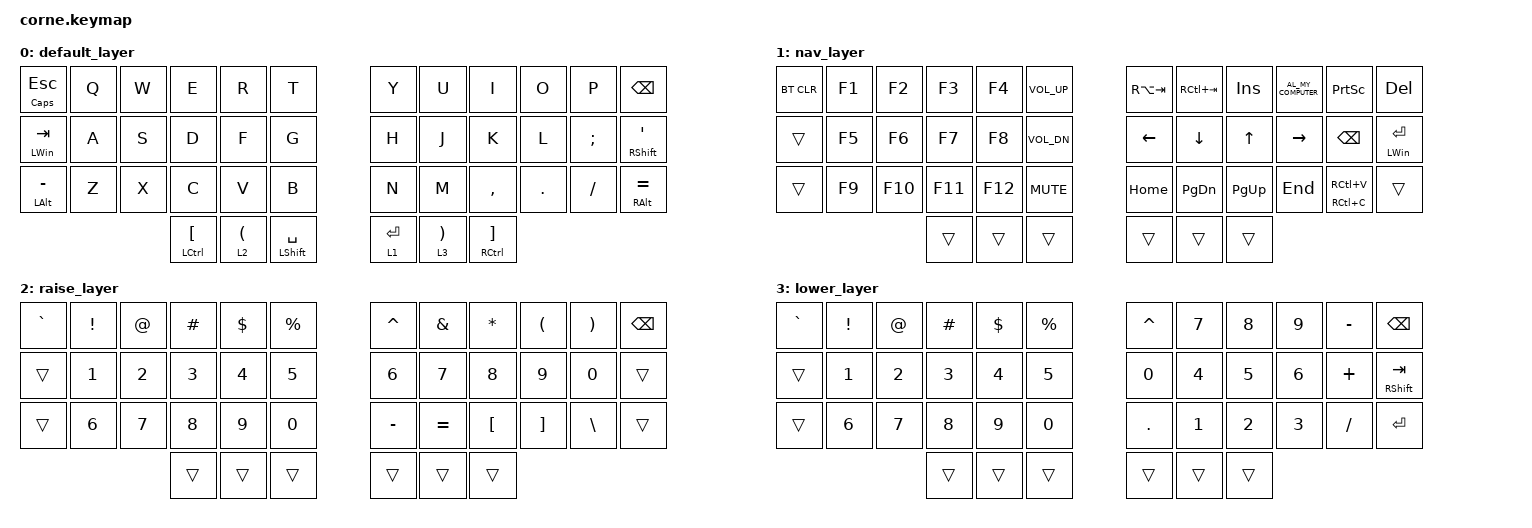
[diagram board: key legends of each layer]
/*
 * Copyright (c) 2020 The ZMK Contributors
 *
 * SPDX-License-Identifier: MIT
 */

#include <behaviors.dtsi>
#include <dt-bindings/zmk/bt.h>
#include <dt-bindings/zmk/keys.h>

/ {
    keymap {
        compatible = "zmk,keymap";

        default_layer {
            // -----------------------------------------------------------------------------------------
            //  | CAPS ESC |  Q  |  W  |  E  |  R  |  T  |      |  Y  |  U   |  I  |  O  |  P  | BKSP   |
            //  | CTRL TAB |  A  |  S  |  D  |  F  |  G  |      |  H  |  J   |  K  |  L  |  ;  | SHFT ' |
            //      |ALT - |  Z  |  X  |  C  |  V  |  B  |      |  N  |  M   |  ,  |  .  |  /  | ALT = |
            //                | GUI [ | L2 ( | SHFT ENT  |      | SPC L1 | L2 ) | CTRL ] |

            bindings = <
&mt CAPS ESC      &kp Q  &kp W  &kp E           &kp R       &kp T              &kp Y        &kp U       &kp I           &kp O    &kp P     &kp BSPC
&mt LEFT_WIN TAB  &kp A  &kp S  &kp D           &kp F       &kp G              &kp H        &kp J       &kp K           &kp L    &kp SEMI  &mt RSHFT SQT
&mt LALT MINUS    &kp Z  &kp X  &kp C           &kp V       &kp B              &kp N        &kp M       &kp COMMA       &kp DOT  &kp FSLH  &mt RALT EQUAL
                                &mt LCTRL LBKT  &lt 2 LPAR  &mt LSHFT SPACE    &lt 1 ENTER  &lt 3 RPAR  &mt RCTRL RBKT
            >;
        };

        // num row   &kp N1  &kp N2   &kp N3  &kp N4  &kp N5       &kp N6 &kp N7  &kp N8  &kp N9  &kp N0
        //LAYER 1 

        nav_layer {
            // -----------------------------------------------------------------------------------------
            //    | BTCLR | F1 | F2 | F3 | F4 | VOLUP |      | EP_ON | EP_OFF | INS | MYCOMP | PSCRN | DEL  |
            // | CTRL TAB | F5 | F6 | F7 | F8 | VOLDN |      | LFT  |  DWN  |  UP  | RIGHT | BCSP| SHFT ' |
            //    | ALT - | F9 |F10 |F11 |F12 | MUTE  |      | HOME | PGUP  | PGDN |  END  | BACK | ALT = |
            //             | GUI [ | L2 ( | SHIFT ENT |      | SPC | L2 ) | CTRL ] |

            bindings = <
&bt BT_CLR  &kp F1  &kp F2   &kp F3   &kp F4   &kp C_VOL_UP    &kp RA(TAB)  &kp RC(TAB)  &kp INS    &kp C_AL_MY_COMPUTER  &kp PSCRN        &kp DEL
&trans      &kp F5  &kp F6   &kp F7   &kp F8   &kp C_VOL_DN    &kp LEFT     &kp DOWN     &kp UP     &kp RIGHT             &kp BSPC         &mt LEFT_WIN RET
&trans      &kp F9  &kp F10  &kp F11  &kp F12  &kp C_MUTE      &kp HOME     &kp PG_DN    &kp PG_UP  &kp END               &mt RC(C) RC(V)  &trans
                             &trans   &trans   &trans          &trans       &trans       &trans
            >;
        };

        //LAYER 2

        raise_layer {
            // -----------------------------------------------------------------------------------------
            //        |  ` |  !  |  @  |  #  |  $  |  %  |     |  ^  |  &  |  *  |  (  |  )  | BKSP   |
            //  | CTRL TAB |  1  |  2  |  3  |  4  |  5  |     |  6  |  7  |  8  |  9  |  0  | SHFT ' |
            //     | ALT - |  6  |  7  |  8  |  9  |  0  |     |  -  |  =  |  [  |  ]  |  \  | ALT = |
            //                      | GUI [ | L2 ( | SPC |     | ENT | L2 ) | CTRL ] |

            bindings = <
&kp GRAVE  &kp EXCL  &kp AT  &kp HASH  &kp DLLR  &kp PRCNT    &kp CARET  &kp AMPS   &kp ASTERISK  &kp LPAR  &kp RPAR  &kp BSPC
&trans     &kp N1    &kp N2  &kp N3    &kp N4    &kp N5       &kp N6     &kp N7     &kp N8        &kp N9    &kp N0    &trans
&trans     &kp N6    &kp N7  &kp N8    &kp N9    &kp N0       &kp MINUS  &kp EQUAL  &kp LBKT      &kp RBKT  &kp BSLH  &trans
                             &trans    &trans    &trans       &trans     &trans     &trans
            >;
        };

        lower_layer {
            bindings = <
&kp GRAVE  &kp EXCL  &kp AT  &kp HASH  &kp DLLR  &kp PRCNT    &kp CARET  &kp N7  &kp N8  &kp N9  &kp MINUS  &kp BSPC
&trans     &kp N1    &kp N2  &kp N3    &kp N4    &kp N5       &kp N0     &kp N4  &kp N5  &kp N6  &kp PLUS   &mt RIGHT_SHIFT TAB
&trans     &kp N6    &kp N7  &kp N8    &kp N9    &kp N0       &kp DOT    &kp N1  &kp N2  &kp N3  &kp SLASH  &kp RETURN
                             &trans    &trans    &trans       &trans     &trans  &trans
            >;
        };
    };
};
